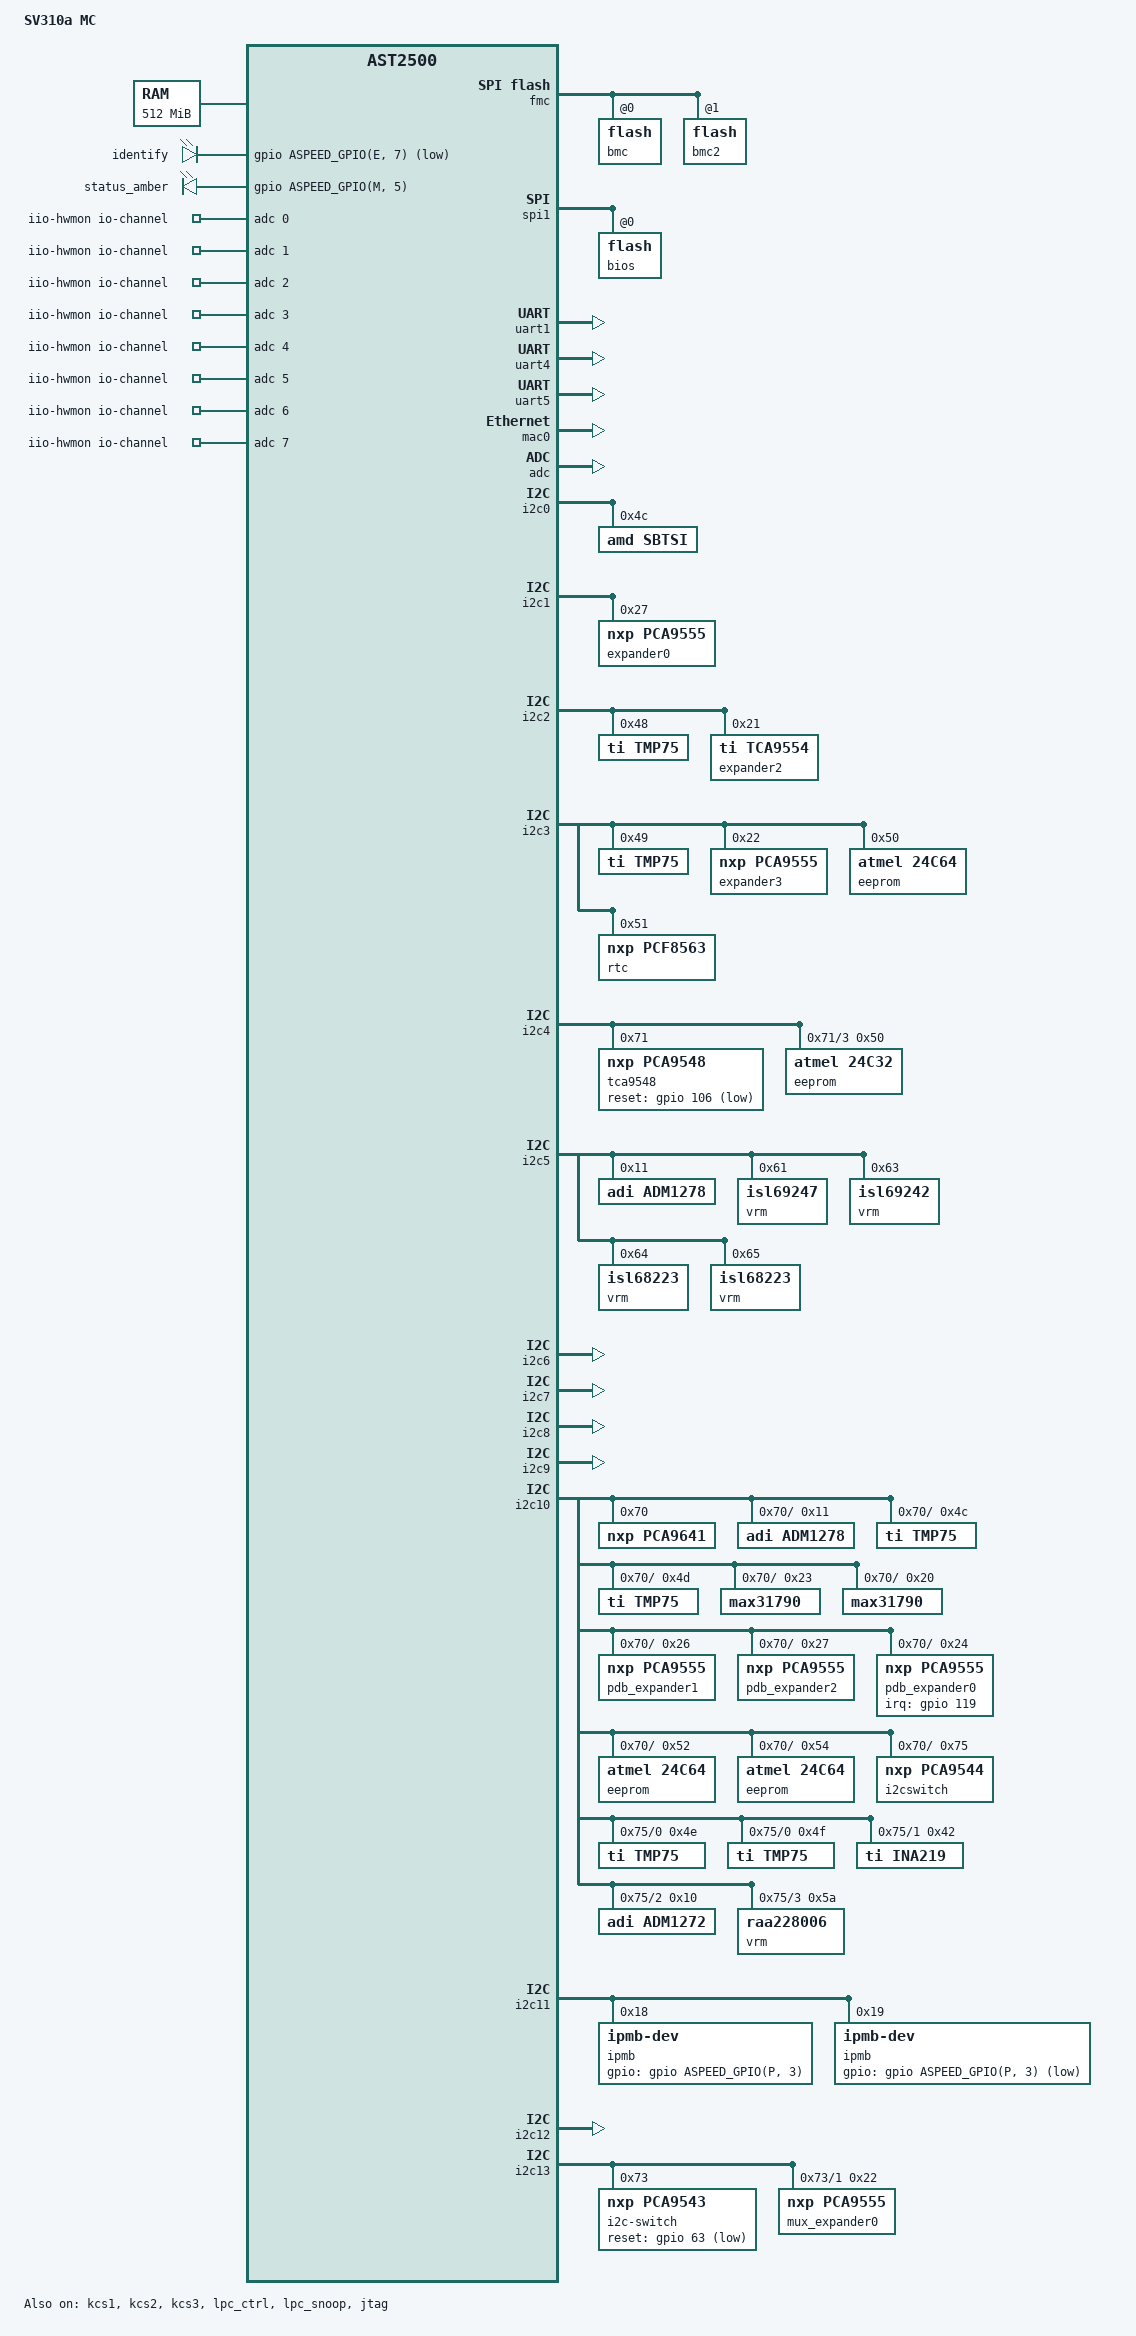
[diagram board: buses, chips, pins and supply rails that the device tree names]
// SPDX-License-Identifier: GPL-2.0+
// Copyright (c) 2019 Wiwynn Inc.
/dts-v1/;

#include "aspeed-g5.dtsi"
#include <dt-bindings/gpio/aspeed-gpio.h>
#include <dt-bindings/leds/leds-pca955x.h>

/ {
    model = "SV310a MC";
    compatible = "wiwynn,sv310a-bmc", "aspeed,ast2500";
    aliases {
        serial0 = &uart1;
        serial4 = &uart5;
    };
    chosen {
        stdout-path = &uart5;
        bootargs = "console=ttyS4,115200 earlyprintk";
    };

    memory@80000000 {
        reg = <0x80000000 0x20000000>;
    };
    reserved-memory {
        #address-cells = <1>;
        #size-cells = <1>;
        ranges;

        flash_memory: region@98000000 {
            no-map;
            reg = <0x98000000 0x04000000>; /* 64M */
        };

        vga_memory: framebuffer@7f000000 {
            no-map;
            reg = <0x7f000000 0x01000000>;
        };
        safs_memory: region@30000000 {
            no-map;
            reg = <0x30000000 0x08000000>; /* 128M */
        };

        ramoops@9c000000 {
            compatible = "ramoops";
            reg = <0x9c000000 0x180000>;
            record-size = <0x4000>;
            console-size = <0x4000>;
            pmsg-size = <0x4000>;
            max-reason = <3>; /* KMSG_DUMP_EMERG */
        };

        gfx_memory: framebuffer@9f000000 {
            no-map;
            compatible = "shared-dma-pool";
            reg = <0x9f000000 0x01000000>; /* 16M */
        };
    };

    leds {
        compatible = "gpio-leds";

        identify {
            gpios = <&gpio ASPEED_GPIO(E, 7) GPIO_ACTIVE_LOW>;
            default-state = "keep";
            retain-state-shutdown;
        };

        status_amber {
            gpios = <&gpio ASPEED_GPIO(M, 5) GPIO_ACTIVE_HIGH>;
            default-state = "off";
        };
    };

    gpio-keys {
        compatible = "gpio-keys";
    };

    iio-hwmon {
        compatible = "iio-hwmon";
        io-channels = <&adc 0>, <&adc 1>, <&adc 2>, <&adc 3>,
            <&adc 4>, <&adc 5>, <&adc 6>, <&adc 7>, <&adc 8>, 
            <&adc 10>, <&adc 11>, <&adc 12>, <&adc 13>,
            <&adc 14>, <&adc 15>;
    };
};

&fmc {
    status = "okay";
    flash@0 {
        status = "okay";
        m25p,fast-read;
        label = "bmc";
        #include "openbmc-flash-layout-64M.dtsi"
    };
    flash@1 {
        status = "okay";
        m25p,fast-read;
        label = "bmc2";
    };
};

&spi1 {
    status = "okay";
    pinctrl-names = "default";
    pinctrl-0 = <&pinctrl_spi1_default>;
    flash@0 {
        status = "okay";
        m25p,fast-read;
        label = "bios";
    };
};

&uart1 {
    status = "okay";
    pinctrl-names = "default";
    pinctrl-0 = <&pinctrl_txd1_default
                 &pinctrl_rxd1_default
                 &pinctrl_ncts1_default
                 &pinctrl_nrts1_default>;
};

&uart4 {
    status = "okay";
    pinctrl-names = "default";
    pinctrl-0 = <&pinctrl_txd4_default
                 &pinctrl_rxd4_default>;
};

&uart5 {
    // BMC Console
    status = "okay";
};

&kcs1 {
    // BMC KCS channel 1
    status = "okay";
    aspeed,lpc-io-reg = <0xca0>;
};

&kcs2 {
    // BMC KCS channel 2
    status = "okay";
    aspeed,lpc-io-reg = <0xca8>;
};

&kcs3 {
    // BMC KCS channel 3
    status = "okay";
    aspeed,lpc-io-reg = <0xca2>;
};

&mac0 {
    status = "okay";
    pinctrl-names = "default";
    pinctrl-0 = <&pinctrl_rgmii1_default
                 &pinctrl_mdio1_default>;
};

&mac1 {
    pntctrl-names = "default";
    pinctrl-0 = <&pinctrl_rmii2_default>;
    use-ncsi;
};

&adc {
    status = "okay";
    clock-divisor = <0x140>;
};

&i2c0 {
    status = "okay";
    /* CPU APML */
    sbtsi@4c {
        compatible = "amd,sbtsi";
        reg = <0x4c>;
    };
};

&i2c1 {
    status = "okay";
    /* TCA9555 - IO Expander(debug card) */
    expander0: tca9555@27 {
    compatible = "nxp,pca9555";
    reg = <0x27>;
    #address-cells = <1>;
    #size-cells = <0>;
    gpio-controller;
    #gpio-cells = <2>;

    gpio-line-names = "LED_POSTCODE_0",
                    "LED_POSTCODE_1",
                    "LED_POSTCODE_2",
                    "LED_POSTCODE_3",
                    "LED_POSTCODE_4",
                    "LED_POSTCODE_5",
                    "LED_POSTCODE_6",
                    "LED_POSTCODE_7",
                    "FP_RSTBTN_N",
                    "FRONT_LED_PWRBTN_N",
                    "P0_33_PWROK",
                    "P0_33_RESET_N",
                    "PG_P3V3_STBY",
                    "FM_CPU_CATERR_N",
                    "P0_SLP_S5_PLD_N",
                    "FM_UART_SWITCH_N";
    };
};

&i2c2 {
    status = "okay";
    /* TMP75 - Outlet Temp */
    tmp75@48 {
        compatible = "ti,tmp75";
        reg = <0x48>;
    };

    /* TCA9554 - IO Expander(PDB MISC) */
    expander2: tca9554@21{
        compatible = "ti,tca9554";
        reg = <0x21>;
        #address-cells = <1>;
        #size-cells = <0>;

        gpio-controller;
        #gpio-cells = <2>;

        gpio-line-names = "FM_MB_SLOT_ID0",
                        "FM_MB_SLOT_ID1",
                        "FM_MB_SLOT_ID2",
                        "",
                        "PSU1_PWROK_AND",
                        "PSU2_PWROK_AND",
                        "",
                        "";
    };
};

&i2c3 {
    status = "okay";
    /* TMP75 - Inlet Temp */
    tmp75@49 {
        compatible = "ti,tmp75";
        reg = <0x49>;
    };

    /* TCA9555 - IO Expander(SLI11/12 Present) */
    expander3: tca9555@22 {
    compatible = "nxp,pca9555";
    reg = <0x22>;
    #address-cells = <1>;
    #size-cells = <0>;
    gpio-controller;
    #gpio-cells = <2>;

    gpio-line-names = "",
                    "",
                    "SLIM11_PRSNT_N",
                    "SLIM12_PRSNT_N",
                    "M2_1_IFDET_D_N",
                    "M2_2_IFDET_D_N",
                    "M2_3_IFDET_D_N",
                    "FIO_PRSNT_N",
                    "",
                    "",
                    "",
                    "",
                    "",
                    "",
                    "",
                    "";
    };

    /* FM24C64 - FRU */
    eeprom@50 {
        compatible = "atmel,24c64";
        reg = <0x50>;
        pagesize = <32>;
    };

    /* PCF8563 - RTC */
    rtc@51 {
        compatible = "nxp,pcf8563";
        reg = <0x51>;
    };
};

&i2c4 {
    status = "okay";
    /* TCA9548A - I2C MUX
     * Channel 0 - M.2-1
     * Channel 1 - M.2-2
     * Channel 2 - M.2-3
     * Channel 3 - OCP
     * Channel 4 - Clock Buffer
     * Channel 5 - Clock Buffer
     * Channel 6 - Clock Buffer
     * Channel 7 - Clock Buffer
     */
    tca9548@71 {
        compatible = "nxp,pca9548";
        pinctrl-names = "default";
        #address-cells = <1>;
        #size-cells = <0>;
        reg = <0x71>;
        reset-gpios = <&gpio 106 GPIO_ACTIVE_LOW>;

        i2c@3 {
            #address-cells = <1>;
            #size-cells = <0>;
            reg = <3>;

            eeprom@50 {
                compatible = "atmel,24c32";
                reg = <0x50>;
            };
        };
    };
};

&i2c5 {
    status = "okay";
    /* ADM1278 - PDB-HSC */
    adm1278@11 {
        compatible = "adi,adm1278";
        reg = <0x11>;
        shunt-resistor-micro-ohms = <300>;
    };

    vrm@61 {
        compatible = "isl69247";
        reg = <0x61>;
    };

    vrm@63 {
        compatible = "isl69242";
        reg = <0x63>;
    };

    vrm@64 {
        compatible = "isl68223";
        reg = <0x64>;
    };

    vrm@65 {
        compatible = "isl68223";
        reg = <0x65>;
    };
};

&i2c6 {
    status = "okay";
};

&i2c7 {
    status = "okay";
    /* TCA9543A - I2C MUX
     * Channel 0 - SLI11 Sensor
     * Channel 1 - SLI12 Sensor
     */
};

&i2c8 {
    status = "okay";
};

&i2c9 {
    status = "okay";
};

&i2c10 {
    status = "okay";
    /* Connect to PDB - PCA9641 - I2C Arbiter */
    pca9641@70 {
        compatible = "nxp,pca9641";
        reg = <0x70>;
        #address-cells = <1>;
        #size-cells = <0>;
        i2c-arb {
            /* ADM1278 - HSC */
            adm1278@11 {
                compatible = "adi,adm1278";
                reg = <0x11>;
                shunt-resistor-micro-ohms = <150>;
            };

            /* TMP75 */
            tmp75@4C {
                compatible = "ti,tmp75";
                reg = <0x4C>;
            };

            /* TMP75 */
            tmp75@4D {
                compatible = "ti,tmp75";
                reg = <0x4D>;
            };

            /* MAX31790 - PWM Control */
            max31790@23 {
                compatible = "max31790";
                reg = <0x23>;
                #address-cells = <1>;
                #size-cells = <0>;
                fanconfig = /bits/ 8 <0x08 0x08 0x08 0x18 0x18 0x18>;
            };

            /* MAX31790 - PWM Control */
            max31790@20 {
                compatible = "max31790";
                reg = <0x20>;
                #address-cells = <1>;
                #size-cells = <0>;
                fanconfig = /bits/ 8 <0x08 0x08 0x08 0x18 0x18 0x18>;
            };

            /* PCA9555 - FAN LED */
            pdb_expander1: pca9555@26 {
                compatible = "nxp,pca9555";
                reg = <0x26>;
                #address-cells = <1>;
                #size-cells = <0>;
                gpio-controller;
                #gpio-cells = <2>;

                gpio-line-names = "LED_DR_LED1",
                                "LED_DR_LED2",
                                "LED_DR_LED3",
                                "FAN1_2_3_PWR_EN_N",
                                "",
                                "",
                                "",
                                "",
                                "",
                                "",
                                "",
                                "PG_P12V_FAN3",
                                "",
                                "PG_P12V_FAN2",
                                "",
                                "PG_P12V_FAN1";
            };

            /* PCA9555 - FAN LED */
            pdb_expander2: pca9555@27 {
                compatible = "nxp,pca9555";
                reg = <0x27>;
                #address-cells = <1>;
                #size-cells = <0>;
                gpio-controller;
                #gpio-cells = <2>;

                gpio-line-names = "LED_DR_LED4",
                                "LED_DR_LED5",
                                "LED_DR_LED6",
                                "FAN4_5_6_PWR_EN_N",
                                "",
                                "",
                                "",
                                "",
                                "",
                                "",
                                "",
                                "PG_P12V_FAN6",
                                "",
                                "PG_P12V_FAN5",
                                "",
                                "PG_P12V_FAN4";
            };

            /* PCA9555 - IO Expander(Fan Present) */
            pdb_expander0: pca9555@24 {
                compatible = "nxp,pca9555";
                reg = <0x24>;
                #address-cells = <1>;
                #size-cells = <0>;
                gpio-controller;
                #gpio-cells = <2>;

                debounce-ms = <0x3E8>;
                interrupt-parent = <&gpio>;
                interrupts = <119 8>;
                interrupt-controller;
                #interrupt-cells = <2>;

                gpio-line-names = "FAN1_PRSNT_N",
                                "FAN2_PRSNT_N",
                                "FAN3_PRSNT_N",
                                "FAN4_PRSNT_N",
                                "FAN5_PRSNT_N",
                                "FAN6_PRSNT_N",
                                "MB0_SKU_PRSNT_N",
                                "MB1_SKU_PRSNT_N",
                                "TEMP1_ALERT_R",
                                "TEMP2_ALERT_R",
                                "IOEXP_IO1_2",
                                "IOEXP_IO1_3",
                                "PSU2_PWR_AC_OK_R",
                                "PSU2_PRSNT_N_R",
                                "PSU1_PWR_AC_OK_R",
                                "PSU1_PRSNT_N_R";
            };

            /* FM24C64 - FRU */
            eeprom@52 {
                compatible = "atmel,24c64";
                reg = <0x52>;
                pagesize = <32>;
            };

            /* 24LC64 - FRU */
            eeprom@54 {
                compatible = "atmel,24c64";
                reg = <0x54>;
                pagesize = <32>;
            };

            /*48V PDB MUX*/
            i2cswitch@75 {
                compatible = "nxp,pca9544";
                idle-state = <0>;
                i2c-mux-idle-disconnect;
                reg = <0x75>;

                i2c@0 {
                    /* 48V PDB Temp Sensor */
                    reg = <0>;
                    tmp75@4e {
                        compatible = "ti,tmp75";
                        reg = <0x4e>;
                    };
                    tmp75@4f {
                        compatible = "ti,tmp75";
                        reg = <0x4f>;
                    };
                };

                i2c@1 {
                    /* 48V PDB Power and Current Monitor */
                    reg = <1>;
                    ina219@42 {
                        compatible = "ti,ina219";
                        reg = <0x42>;
                        shunt-resistor = <5000>;
                    };
                };

                i2c@2 {
                    /* 48V HSC Controller */
                    reg = <2>;
                    adm1272@10 {
                        compatible = "adi,adm1272";
                        reg = <0x10>;
                        shunt-resistor-micro-ohms = <500>;
                    };
                };

                i2c@3 {
                    /* P48V to P12V controller */
                    reg = <3>;
                    vrm@5a {
                        compatible = "raa228006";
                        reg = <0x5a>;
                    };
                };
            };

        };
    };
};

&i2c11 {
    status = "okay";
    /* Right Node */
    ipmb@18 {
        compatible = "ipmb-dev";
        reg = <0x18>;
        i2c-protocol;
        gpios = <&gpio ASPEED_GPIO(P, 3) GPIO_ACTIVE_HIGH>;
    };
    /* Left Node */
    ipmb@19 {
        compatible = "ipmb-dev";
        reg = <0x19>;
        i2c-protocol;
        gpios = <&gpio ASPEED_GPIO(P, 3) GPIO_ACTIVE_LOW>;
    };
};

&i2c12 {
    status = "okay";
};

&i2c13 {
    status = "okay";
    /* TCA9543A - I2C MUX
     * Channel 0 - SLI9 Sensor
     * Channel 1 - IO Expander(PCIe Slot Present)
     */
    i2c-switch@73 {
        compatible = "nxp,pca9543";
        pinctrl-names = "default";
        #address-cells = <1>;
        #size-cells = <0>;
        reg = <0x73>;
        reset-gpios = <&gpio 63 GPIO_ACTIVE_LOW>;

        i2c@1 {
            reg = <1>;
            /* TCA9555 - IO Expander(PCIe Slot Present) */
            mux_expander0: tca9555@22 {
                compatible = "nxp,pca9555";
                reg = <0x22>;
                #address-cells = <1>;
                #size-cells = <0>;
                gpio-controller;
                #gpio-cells = <2>;

                gpio-line-names = "RISER_ID_1",
                                "RISER_ID_2",
                                "",
                                "RC_PRESNET_N",
                                "P4E_SLOT1_PRSNT1_N",
                                "P4E_SLOT1_PRSNT2_N",
                                "P4E_SLOT1_PRSNT3_N",
                                "P4E_SLOT1_PRSNT4_N",
                                "P4E_LVC3_OCP_PRSNTB0_N ",
                                "P4E_LVC3_OCP_PRSNTB1_N ",
                                "P4E_LVC3_OCP_PRSNTB2_N ",
                                "P4E_LVC3_OCP_PRSNTB3_N ",
                                "",
                                "",
                                "",
                                "";
            };
        };
    };
};

&lpc_ctrl {
    status = "okay";
    memory-region = <&flash_memory>;
    flash = <&spi1>;
};

&lpc_snoop {
    status = "okay";
    snoop-ports = <0x80>;
};

&gpio {
    status = "okay";
    gpio-line-names =
    /*A0-A7*/   "BMC_HDR_LVL_XLTR_OE_N","","JTAG_BMC_OE_N","FM_BMC_BATTERY_SENSE_EN_N","","","","",
    /*B0-B7*/   "GPU_SKU_PWRBRK_N","P0_SP3R1_BMC","P0_SP3R2_BMC","P0_CORETYPE_BMC","IRQ_HSC_FAULT_N","","","",
    /*C0-C7*/   "","","","","","","","",
    /*D0-D7*/   "VR_VDD_MEM_ABCD_SUS_VRHOT_N","VR_VDD_MEM_EFGH_SUS_VRHOT_N","FM_BIOS_SPI_BMC_CTRL","NMI_BTN_N","P0_PCIE_MGMT_RST_N","RST_OCP_CARD_SMB_N","","",
    /*E0-E7*/   "FP_RST_BTN_BMC_IN_N","RST_BMC_RSTBTN_OUT_R_N","FM_BMC_PWRBTN_IN_N","FM_BMC_PWRBTN_OUT_R_N","","BMC_SYS_MON_PWROK","","",
    /*F0-F7*/   "IRQ_BMC_PCH_NMI_N","SENSOR3_THERM_N","P0_THERMTRIP_LVT3_PLD_N","P0_RSMRST_N","HSC_GPIO1_CPLD_N","","","",
    /*G0-G7*/   "BMC_HSC_AC_OFF","FM_UART_SWITCH_N","M2CN3_PEDET","","P0_APML_ALERT_N","MB_BOARD_REV_ID0","MB_BOARD_REV_ID1","MB_BOARD_REV_ID2",
    /*H0-H7*/   "VDD_MEM_ABCD_SUS_FAULT","VDD_MEM_EFGH_SUS_FAULT","VDD_SOC_RUN_VRHOT_N","PDB_ARBITER_INT_N","HSC_GPIO2_CPLD_N","P0_SMB_M2_3_ALERT_N","SLI9_IOEXP_INT_N","IICMUX6_RESET",
    /*I0-I7*/   "FM_BIOS_MRC_DEBUG_MSG_DIS_N","","","","","","","",
    /*J0-J7*/   "P0_NMI_SYNC_FLOOD_N","FM_BIOS_FRB3_N","M2CN1_PEDET","M2CN2_PEDET","","","","",
    /*K0-K7*/   "","","","","","","","",
    /*L0-L7*/   "","VDD_SOC_RUN_FAULT","P0_33_RESET_N","","LPC_ENABLE_ESPI_N","","","",
    /*M0-M7*/   "FM_BIOS_POST_CMPLT_N","PSU1_PWROK_AND","P0_CPLD_PRESENT_N","MGMT_ASSERT_LOCAL_LOCK","MGMT_ASSERT_P0_PROCHOT","BMC_LED_PWR_AMBER","PSU2_PWROK_AND","IRQ_SMI_ACTIVE_BMC_N",
    /*N0-N7*/   "","EN_ADC_P1V5_RTC_N","IICMUX1_RESET","","IICMUX5_RESET","IICMUX7_RESET","VDD_CORE_RUN_VRHOT_N","P0_PROCHOT_BMC_N",
    /*O0-O7*/   "SKU_DETECT_BIT2","SKU_DETECT_BIT1","SKU_DETECT_BIT0","PDB_I2C_BUS12_RESET_N","PSU_PWROK_AND_R","PSU2_AC_PWROK","SSD_INT_B_N","FAN_PSU_IOEXP_INT_N",
    /*P0-P7*/   "PSU1_AC_PWROK","NEXT_NODE_P3V3_STBY_PG","SLOT_ID_0","SLOT_ID_1","MB_PRESENT_N","PDB_REVISION_0","PDB_REVISION_1","FP_PWR_ID_LED_N",
    /*Q0-Q7*/   "","","","","","","","SP3_PCIE_WAKE_N",
    /*R0-R7*/   "","VDD_CORE_RUN_FAULT","FAST_PROCHOT_N","","","USB_OC_2_N","","",
    /*S0-S7*/   "","BMC_HDT_PWROK","P12V_NIC_FAULT_N","I2C_VR_ALERT_N","BMC_JTAG_SEL","MGMT_GPIOS5_STRAP","MGMT_STRAP5","BMC_SPD_SMBUS_SEL",
    /*T0-T7*/   "","","","","","","","",
    /*U0-U7*/   "","","","","","","","",
    /*V0-V7*/   "","","","","","","","",
    /*W0-W7*/   "","","","","","","","",
    /*X0-X7*/   "","","","","","","","",
    /*Y0-Y7*/   "P0_SLP_S3_BMC_N","P0_SLP_S5_PLD_N","SLI5_IOEXP_INT_N","","","","","",
    /*Z0-Z7*/   "","SLI7_IOEXP_INT_N","MGMT_ASSERT_CLR_CMOS","","BMC_STRAP17","BMC_HDT_DBREQ_N","MGMT_ASSERT_BMC_READY","",
    /*AA0-AA7*/ "P0_SMB_M2_1_ALERT_N","SLI1_IOEXP_INT_N","P0_SMB_M2_2_ALERT_N","SENSOR1_THERM_N","SENSOR2_THERM_N","IRQ_TPM_SPI_N","SLI3_IOEXP_INT_N","IRQ_SML1_PMBUS_ALERT_N_R",
    /*AB0-AB7*/ "USB_DB_PRSNT_N","P0_NVDIMM_EVENT_N","BMC_PLD_WDRST1_N","BMC_PLD_WDRST2_N","","","","",
    /*AC0-AC7*/ "","","","","","","","";
};

&jtag {
    status = "okay";
};

